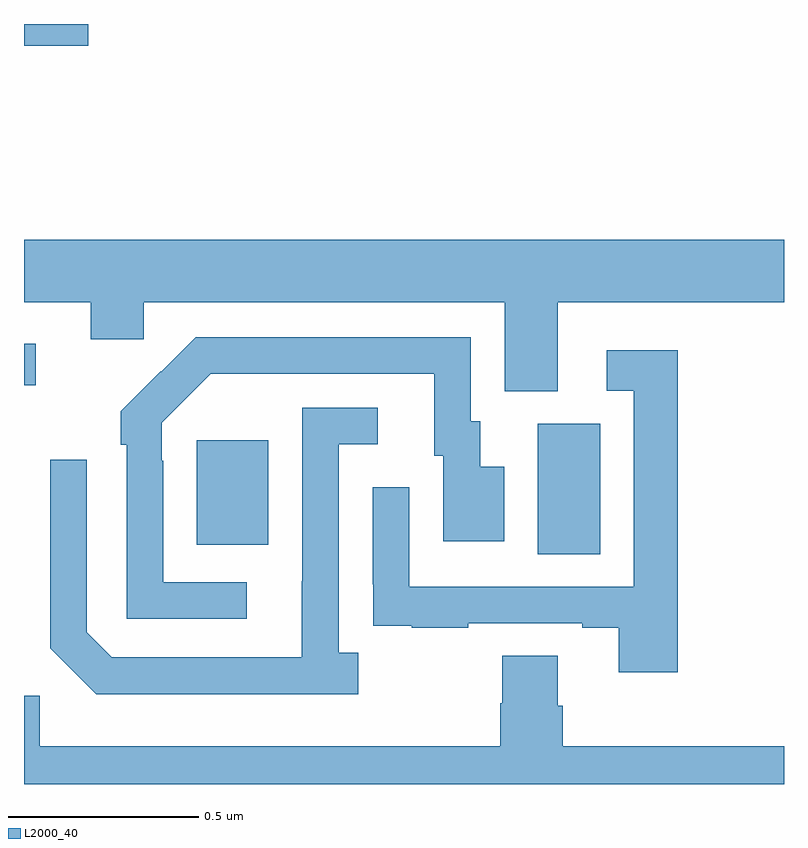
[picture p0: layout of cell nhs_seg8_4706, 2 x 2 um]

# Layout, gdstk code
import gdstk
lib = gdstk.Library(unit=1e-6, precision=1e-09)
def R(c, l, rs):  # rectangles x0, y0, x1, y1
    for r in rs: c.add(gdstk.rectangle(r[:2], r[2:], *l))
def P(c, l, *ps):  # polygons
    for p in ps: c.add(gdstk.Polygon(p, *l))
L2000_40 = (2000, 40)

nhs_seg8_4706 = lib.new_cell('nhs_seg8_4706')
R(nhs_seg8_4706, L2000_40, [(175.352,1114.504,175.516,1114.848), (174.455,1114.529,174.643,1114.804), (174,1114.95,174.031,1115.058), (174,1115.843,174.169,1115.9)])
P(nhs_seg8_4706, L2000_40, [(174,1115.168),(174.176,1115.168),(174.176,1115.07),(174.315,1115.07),(174.315,1115.168),(175.265,1115.168),(175.265,1114.933),(175.405,1114.933),(175.405,1115.168),(176,1115.168),(176,1115.332),(174,1115.332)],
  [(174.586,1114.431),(174.366,1114.431),(174.366,1114.751),(174.363,1114.751),(174.363,1114.851),(174.492,1114.98),(175.079,1114.98),(175.079,1114.764),(175.103,1114.764),(175.103,1114.539),(175.264,1114.539),(175.264,1114.735),(175.201,1114.735),(175.201,1114.854),(175.176,1114.854),(175.176,1115.076),(174.452,1115.076),(174.361,1114.985),(174.36,1114.986),(174.255,1114.881),(174.255,1114.793),(174.27,1114.793),(174.27,1114.335),(174.586,1114.335)],
  [(175.721,1115.041),(175.533,1115.041),(175.533,1114.935),(175.605,1114.935),(175.605,1114.419),(175.014,1114.419),(175.014,1114.681),(174.918,1114.681),(174.918,1114.426),(174.919,1114.426),(174.919,1114.317),(175.021,1114.317),(175.021,1114.311),(175.169,1114.311),(175.169,1114.323),(175.469,1114.323),(175.469,1114.311),(175.565,1114.311),(175.565,1114.194),(175.721,1114.194)],
  [(174.88,1114.246),(174.828,1114.246),(174.828,1114.794),(174.931,1114.794),(174.931,1114.89),(174.732,1114.89),(174.732,1114.433),(174.731,1114.433),(174.731,1114.233),(174.231,1114.233),(174.165,1114.299),(174.165,1114.753),(174.069,1114.753),(174.069,1114.257),(174.19,1114.136),(174.88,1114.136)],
  [(176,1114),(175.418,1114),(175.418,1114.106),(175.405,1114.106),(175.405,1114.238),(175.258,1114.238),(175.258,1114.113),(175.253,1114.113),(175.253,1114),(174.042,1114),(174.042,1114.132),(174,1114.132),(174,1113.9),(176,1113.9)])

lib.write_gds('nhs_seg8_4706.gds')
